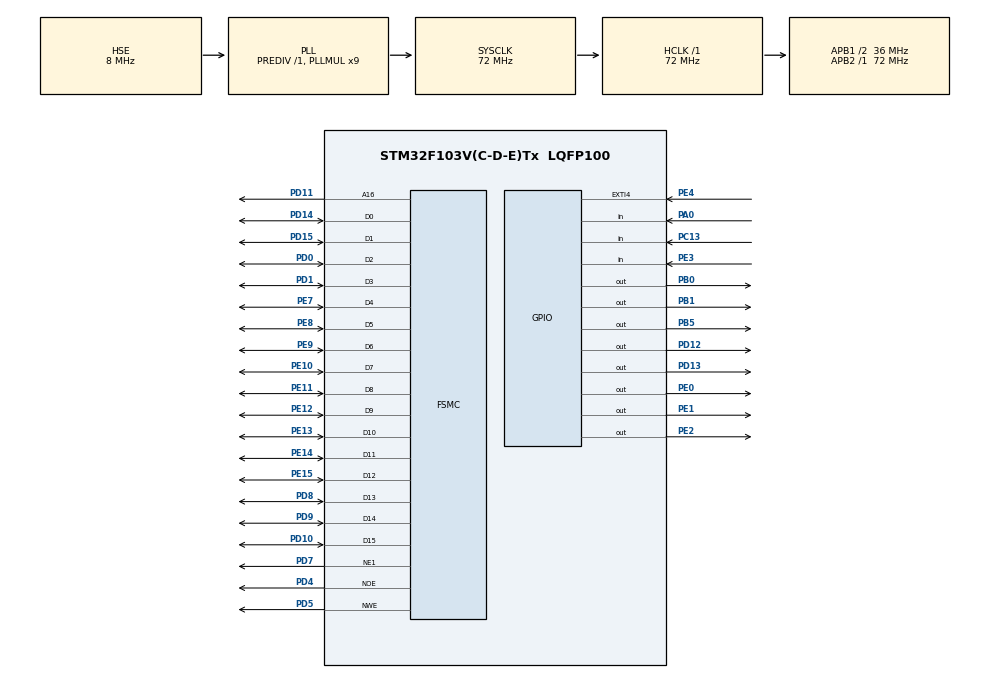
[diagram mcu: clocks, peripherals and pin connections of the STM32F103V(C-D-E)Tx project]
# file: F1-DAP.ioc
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Mcu.Family=STM32F1
Mcu.Name=STM32F103V(C-D-E)Tx
Mcu.Package=LQFP100
NVIC.EXTI4_IRQn=true\:0\:0\:false\:false\:true\:true\:true
NVIC.PriorityGroup=NVIC_PRIORITYGROUP_4
NVIC.TIM2_IRQn=true\:0\:0\:false\:false\:true\:true\:true
OSC_IN.Mode=HSE-External-Oscillator
OSC_IN.Signal=RCC_OSC_IN
OSC_OUT.Mode=HSE-External-Oscillator
OSC_OUT.Signal=RCC_OSC_OUT
PA0-WKUP.Signal=GPIO_Input
PA13.Mode=Serial_Wire
PA13.Signal=SYS_JTMS-SWDIO
PA14.Mode=Serial_Wire
PA14.Signal=SYS_JTCK-SWCLK
PB0.GPIO_Speed=GPIO_SPEED_FREQ_HIGH
PB0.PinState=GPIO_PIN_SET
PB0.Signal=GPIO_Output
PB1.GPIO_Speed=GPIO_SPEED_FREQ_HIGH
PB1.PinState=GPIO_PIN_SET
PB1.Signal=GPIO_Output
PB5.GPIO_Speed=GPIO_SPEED_FREQ_HIGH
PB5.PinState=GPIO_PIN_SET
PB5.Signal=GPIO_Output
PC13-TAMPER-RTC.Signal=GPIO_Input
PC14-OSC32_IN.Mode=LSE-External-Oscillator
PC14-OSC32_IN.Signal=RCC_OSC32_IN
PC15-OSC32_OUT.Mode=LSE-External-Oscillator
PC15-OSC32_OUT.Signal=RCC_OSC32_OUT
PD0.Mode=16b-d1
PD0.Signal=FSMC_D2
PD1.Mode=16b-d1
PD1.Signal=FSMC_D3
PD10.Mode=16b-d1
PD10.Signal=FSMC_D15
PD11.Mode=A16_1
PD11.Signal=FSMC_A16
PD12.GPIO_Speed=GPIO_SPEED_FREQ_HIGH
PD12.PinState=GPIO_PIN_RESET
PD12.Signal=GPIO_Output
PD13.GPIO_Speed=GPIO_SPEED_FREQ_HIGH
PD13.Signal=GPIO_Output
PD14.Mode=16b-d1
PD14.Signal=FSMC_D0
PD15.Mode=16b-d1
PD15.Signal=FSMC_D1
PD4.Mode=Lcd1
PD4.Signal=FSMC_NOE
PD5.Mode=Lcd1
PD5.Signal=FSMC_NWE
PD7.Mode=NorPsramChipSelect1_1
PD7.Signal=FSMC_NE1
PD8.Mode=16b-d1
PD8.Signal=FSMC_D13
PD9.Mode=16b-d1
PD9.Signal=FSMC_D14
PE0.GPIO_Speed=GPIO_SPEED_FREQ_HIGH
PE0.Signal=GPIO_Output
PE1.GPIO_Speed=GPIO_SPEED_FREQ_HIGH
PE1.Signal=GPIO_Output
PE10.Mode=16b-d1
PE10.Signal=FSMC_D7
PE11.Mode=16b-d1
PE11.Signal=FSMC_D8
PE12.Mode=16b-d1
PE12.Signal=FSMC_D9
PE13.Mode=16b-d1
PE13.Signal=FSMC_D10
PE14.Mode=16b-d1
PE14.Signal=FSMC_D11
PE15.Mode=16b-d1
PE15.Signal=FSMC_D12
PE2.GPIO_Speed=GPIO_SPEED_FREQ_HIGH
PE2.Signal=GPIO_Output
PE3.GPIO_PuPd=GPIO_PULLUP
PE3.Signal=GPIO_Input
PE4.GPIO_ModeDefaultEXTI=GPIO_MODE_IT_FALLING
PE4.GPIO_PuPd=GPIO_PULLUP
PE4.Signal=GPXTI4
PE7.Mode=16b-d1
PE7.Signal=FSMC_D4
PE8.Mode=16b-d1
PE8.Signal=FSMC_D5
PE9.Mode=16b-d1
PE9.Signal=FSMC_D6
ProjectManager.HeapSize=0x200
ProjectManager.StackSize=0x400
ProjectManager.TargetToolchain=MDK-ARM V5
RCC.AHBFreq_Value=72000000
RCC.APB1CLKDivider=RCC_HCLK_DIV2
RCC.APB1Freq_Value=36000000
RCC.APB1TimFreq_Value=72000000
RCC.APB2Freq_Value=72000000
RCC.APB2TimFreq_Value=72000000
RCC.HCLKFreq_Value=72000000
RCC.PLLMUL=RCC_PLL_MUL9
RCC.PLLSourceVirtual=RCC_PLLSOURCE_HSE
RCC.SYSCLKFreq_VALUE=72000000
RCC.SYSCLKSource=RCC_SYSCLKSOURCE_PLLCLK
RCC.USBFreq_Value=72000000
TIM2.AutoReloadPreload=TIM_AUTORELOAD_PRELOAD_ENABLE
TIM2.Period=10000-1
TIM2.Prescaler=7200-1
VP_TIM2_VS_ClockSourceINT.Mode=Internal
board=custom

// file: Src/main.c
/* USER CODE BEGIN Header */
/**
  ******************************************************************************
  * @file           : main.c
  * @brief          : Main program body
  ******************************************************************************
  * @attention
  *
  * <h2><center>&copy; Copyright (c) 2021 STMicroelectronics.
  * All rights reserved.</center></h2>
  *
  * This software component is licensed by ST under BSD 3-Clause license,
  * the "License"; You may not use this file except in compliance with the
  * License. You may obtain a copy of the License at:
  *                        opensource.org/licenses/BSD-3-Clause
  *
  ******************************************************************************
  */
/* USER CODE END Header */

#include "main.h"

/* USER CODE BEGIN Includes */
#include "lcdtp.h"
#include "xpt2046.h"
#include "menu.h"
/* USER CODE END Includes */

/* USER CODE BEGIN PD */
#define WELCOME_DELAY 1000
#define INPUT_DELAY 100
/* USER CODE END PD */

TIM_HandleTypeDef htim2;

SRAM_HandleTypeDef hsram1;

/* USER CODE BEGIN PV */
uint8_t playFlag = 0;
uint16_t playtimeElapsed = 0;
/* USER CODE END PV */

void SystemClock_Config(void);
static void MX_GPIO_Init(void);
static void MX_FSMC_Init(void);
static void MX_TIM2_Init(void);
/* USER CODE BEGIN PFP */

static void _updatePlayTime(const uint16_t time);

/* USER CODE END PFP */

int main(void)
{

  /* MCU Configuration--------------------------------------------------------*/

  /* Reset of all peripherals, Initializes the Flash interface and the Systick. */
  HAL_Init();

  /* Configure the system clock */
  SystemClock_Config();

  /* Initialize all configured peripherals */
  MX_GPIO_Init();
  MX_FSMC_Init();
  MX_TIM2_Init();
  /* USER CODE BEGIN 2 */
	macXPT2046_CS_DISABLE();

	LCD_INIT();

  MENU_Welcome();
  HAL_Delay(WELCOME_DELAY);

  // start timer
  // HAL_TIM_Base_Start_IT(&htim2);

	while( ! XPT2046_Touch_Calibrate () );

	LCD_GramScan ( 1 );
	LCD_Clear(0, 0, 240, 320, DARK);
  MENU_PlaySong();

	// LCD_Clear ( 90,  230,  60, 60, BLUE	);

  /* USER CODE END 2 */

  /* Infinite loop */
  /* USER CODE BEGIN WHILE */
  while (1)
  {
    // TODO: refactor touch input into helper func
		if ( ucXPT2046_TouchFlag == 1 ) {
			if (Check_touchPlay() == 1) {
        if (playFlag == 0) HAL_TIM_Base_Start_IT(&htim2);
        else HAL_TIM_Base_Stop_IT(&htim2);
        playFlag = !playFlag;
      }
			else if (Check_touchFw() == 1) {
        playtimeElapsed += 5;
      }
			else if (Check_touchBw() == 1) {
        if (playtimeElapsed < 5) playtimeElapsed = 0; // avoid underflow
        else playtimeElapsed -= 5;
      }
			ucXPT2046_TouchFlag = 0;
      _updatePlayTime(playtimeElapsed);
      HAL_Delay(INPUT_DELAY);
		}
    /* USER CODE END WHILE */

  }
}

void SystemClock_Config(void)
{
  RCC_OscInitTypeDef RCC_OscInitStruct = {0};
  RCC_ClkInitTypeDef RCC_ClkInitStruct = {0};

  /** Initializes the CPU, AHB and APB busses clocks
  */
  RCC_OscInitStruct.OscillatorType = RCC_OSCILLATORTYPE_HSE;
  RCC_OscInitStruct.HSEState = RCC_HSE_ON;
  RCC_OscInitStruct.HSEPredivValue = RCC_HSE_PREDIV_DIV1;
  RCC_OscInitStruct.HSIState = RCC_HSI_ON;
  RCC_OscInitStruct.PLL.PLLState = RCC_PLL_ON;
  RCC_OscInitStruct.PLL.PLLSource = RCC_PLLSOURCE_HSE;
  RCC_OscInitStruct.PLL.PLLMUL = RCC_PLL_MUL9;
  if (HAL_RCC_OscConfig(&RCC_OscInitStruct) != HAL_OK)
  {
    Error_Handler();
  }
  /** Initializes the CPU, AHB and APB busses clocks
  */
  RCC_ClkInitStruct.ClockType = RCC_CLOCKTYPE_HCLK|RCC_CLOCKTYPE_SYSCLK
                              |RCC_CLOCKTYPE_PCLK1|RCC_CLOCKTYPE_PCLK2;
  RCC_ClkInitStruct.SYSCLKSource = RCC_SYSCLKSOURCE_PLLCLK;
  RCC_ClkInitStruct.AHBCLKDivider = RCC_SYSCLK_DIV1;
  RCC_ClkInitStruct.APB1CLKDivider = RCC_HCLK_DIV2;
  RCC_ClkInitStruct.APB2CLKDivider = RCC_HCLK_DIV1;

  if (HAL_RCC_ClockConfig(&RCC_ClkInitStruct, FLASH_LATENCY_2) != HAL_OK)
  {
    Error_Handler();
  }
}

static void MX_TIM2_Init(void)
{

  TIM_ClockConfigTypeDef sClockSourceConfig = {0};
  TIM_MasterConfigTypeDef sMasterConfig = {0};

  htim2.Instance = TIM2;
  htim2.Init.Prescaler = 7200-1;
  htim2.Init.CounterMode = TIM_COUNTERMODE_UP;
  htim2.Init.Period = 10000-1;
  htim2.Init.ClockDivision = TIM_CLOCKDIVISION_DIV1;
  htim2.Init.AutoReloadPreload = TIM_AUTORELOAD_PRELOAD_ENABLE;
  if (HAL_TIM_Base_Init(&htim2) != HAL_OK)
  {
    Error_Handler();
  }
  sClockSourceConfig.ClockSource = TIM_CLOCKSOURCE_INTERNAL;
  if (HAL_TIM_ConfigClockSource(&htim2, &sClockSourceConfig) != HAL_OK)
  {
    Error_Handler();
  }
  sMasterConfig.MasterOutputTrigger = TIM_TRGO_RESET;
  sMasterConfig.MasterSlaveMode = TIM_MASTERSLAVEMODE_DISABLE;
  if (HAL_TIMEx_MasterConfigSynchronization(&htim2, &sMasterConfig) != HAL_OK)
  {
    Error_Handler();
  }

}

static void MX_GPIO_Init(void)
{
  GPIO_InitTypeDef GPIO_InitStruct = {0};

  /* GPIO Ports Clock Enable */
  __HAL_RCC_GPIOE_CLK_ENABLE();
  __HAL_RCC_GPIOC_CLK_ENABLE();
  __HAL_RCC_GPIOA_CLK_ENABLE();
  __HAL_RCC_GPIOB_CLK_ENABLE();
  __HAL_RCC_GPIOD_CLK_ENABLE();

  /*Configure GPIO pin Output Level */
  HAL_GPIO_WritePin(GPIOE, GPIO_PIN_2|GPIO_PIN_0|GPIO_PIN_1, GPIO_PIN_RESET);

  /*Configure GPIO pin Output Level */
  HAL_GPIO_WritePin(GPIOB, GPIO_PIN_0|GPIO_PIN_1|GPIO_PIN_5, GPIO_PIN_SET);

  /*Configure GPIO pin Output Level */
  HAL_GPIO_WritePin(GPIOD, GPIO_PIN_12|GPIO_PIN_13, GPIO_PIN_RESET);

  /*Configure GPIO pins : PE2 PE0 PE1 */
  GPIO_InitStruct.Pin = GPIO_PIN_2|GPIO_PIN_0|GPIO_PIN_1;
  GPIO_InitStruct.Mode = GPIO_MODE_OUTPUT_PP;
  GPIO_InitStruct.Pull = GPIO_NOPULL;
  GPIO_InitStruct.Speed = GPIO_SPEED_FREQ_HIGH;
  HAL_GPIO_Init(GPIOE, &GPIO_InitStruct);

  /*Configure GPIO pin : PE3 */
  GPIO_InitStruct.Pin = GPIO_PIN_3;
  GPIO_InitStruct.Mode = GPIO_MODE_INPUT;
  GPIO_InitStruct.Pull = GPIO_PULLUP;
  HAL_GPIO_Init(GPIOE, &GPIO_InitStruct);

  /*Configure GPIO pin : PE4 */
  GPIO_InitStruct.Pin = GPIO_PIN_4;
  GPIO_InitStruct.Mode = GPIO_MODE_IT_FALLING;
  GPIO_InitStruct.Pull = GPIO_PULLUP;
  HAL_GPIO_Init(GPIOE, &GPIO_InitStruct);

  /*Configure GPIO pin : PC13 */
  GPIO_InitStruct.Pin = GPIO_PIN_13;
  GPIO_InitStruct.Mode = GPIO_MODE_INPUT;
  GPIO_InitStruct.Pull = GPIO_NOPULL;
  HAL_GPIO_Init(GPIOC, &GPIO_InitStruct);

  /*Configure GPIO pin : PA0 */
  GPIO_InitStruct.Pin = GPIO_PIN_0;
  GPIO_InitStruct.Mode = GPIO_MODE_INPUT;
  GPIO_InitStruct.Pull = GPIO_NOPULL;
  HAL_GPIO_Init(GPIOA, &GPIO_InitStruct);

  /*Configure GPIO pins : PB0 PB1 PB5 */
  GPIO_InitStruct.Pin = GPIO_PIN_0|GPIO_PIN_1|GPIO_PIN_5;
  GPIO_InitStruct.Mode = GPIO_MODE_OUTPUT_PP;
  GPIO_InitStruct.Pull = GPIO_NOPULL;
  GPIO_InitStruct.Speed = GPIO_SPEED_FREQ_HIGH;
  HAL_GPIO_Init(GPIOB, &GPIO_InitStruct);

  /*Configure GPIO pins : PD12 PD13 */
  GPIO_InitStruct.Pin = GPIO_PIN_12|GPIO_PIN_13;
  GPIO_InitStruct.Mode = GPIO_MODE_OUTPUT_PP;
  GPIO_InitStruct.Pull = GPIO_NOPULL;
  GPIO_InitStruct.Speed = GPIO_SPEED_FREQ_HIGH;
  HAL_GPIO_Init(GPIOD, &GPIO_InitStruct);

  /* EXTI interrupt init*/
  HAL_NVIC_SetPriority(EXTI4_IRQn, 0, 0);
  HAL_NVIC_EnableIRQ(EXTI4_IRQn);

}

/* FSMC initialization function */
static void MX_FSMC_Init(void)
{

  FSMC_NORSRAM_TimingTypeDef Timing = {0};

  /** Perform the SRAM1 memory initialization sequence
  */
  hsram1.Instance = FSMC_NORSRAM_DEVICE;
  hsram1.Extended = FSMC_NORSRAM_EXTENDED_DEVICE;
  /* hsram1.Init */
  hsram1.Init.NSBank = FSMC_NORSRAM_BANK1;
  hsram1.Init.DataAddressMux = FSMC_DATA_ADDRESS_MUX_DISABLE;
  hsram1.Init.MemoryType = FSMC_MEMORY_TYPE_SRAM;
  hsram1.Init.MemoryDataWidth = FSMC_NORSRAM_MEM_BUS_WIDTH_16;
  hsram1.Init.BurstAccessMode = FSMC_BURST_ACCESS_MODE_DISABLE;
  hsram1.Init.WaitSignalPolarity = FSMC_WAIT_SIGNAL_POLARITY_LOW;
  hsram1.Init.WrapMode = FSMC_WRAP_MODE_DISABLE;
  hsram1.Init.WaitSignalActive = FSMC_WAIT_TIMING_BEFORE_WS;
  hsram1.Init.WriteOperation = FSMC_WRITE_OPERATION_ENABLE;
  hsram1.Init.WaitSignal = FSMC_WAIT_SIGNAL_DISABLE;
  hsram1.Init.ExtendedMode = FSMC_EXTENDED_MODE_DISABLE;
  hsram1.Init.AsynchronousWait = FSMC_ASYNCHRONOUS_WAIT_DISABLE;
  hsram1.Init.WriteBurst = FSMC_WRITE_BURST_DISABLE;
  /* Timing */
  Timing.AddressSetupTime = 15;
  Timing.AddressHoldTime = 15;
  Timing.DataSetupTime = 255;
  Timing.BusTurnAroundDuration = 15;
  Timing.CLKDivision = 16;
  Timing.DataLatency = 17;
  Timing.AccessMode = FSMC_ACCESS_MODE_A;
  /* ExtTiming */

  if (HAL_SRAM_Init(&hsram1, &Timing, NULL) != HAL_OK)
  {
    Error_Handler( );
  }

  /** Disconnect NADV
  */

  __HAL_AFIO_FSMCNADV_DISCONNECTED();

}

/* USER CODE BEGIN 4 */
static void _updatePlayTime(const uint16_t time) {
  char time_mmss[6];
  sprintf(time_mmss, "%02d:%02d", time / 60, time % 60);
  LCD_DrawString_Color(0, 0, time_mmss, GREEN, BLUE);
}

// Callback: timer has rolled over
void HAL_TIM_PeriodElapsedCallback(TIM_HandleTypeDef *htim)
{
  if (htim == &htim2) {
    HAL_GPIO_TogglePin(GPIOB, GPIO_PIN_1);
    _updatePlayTime(++playtimeElapsed);
  }
}
/* USER CODE END 4 */

void Error_Handler(void)
{
}

/************************ (C) COPYRIGHT STMicroelectronics *****END OF FILE****/
